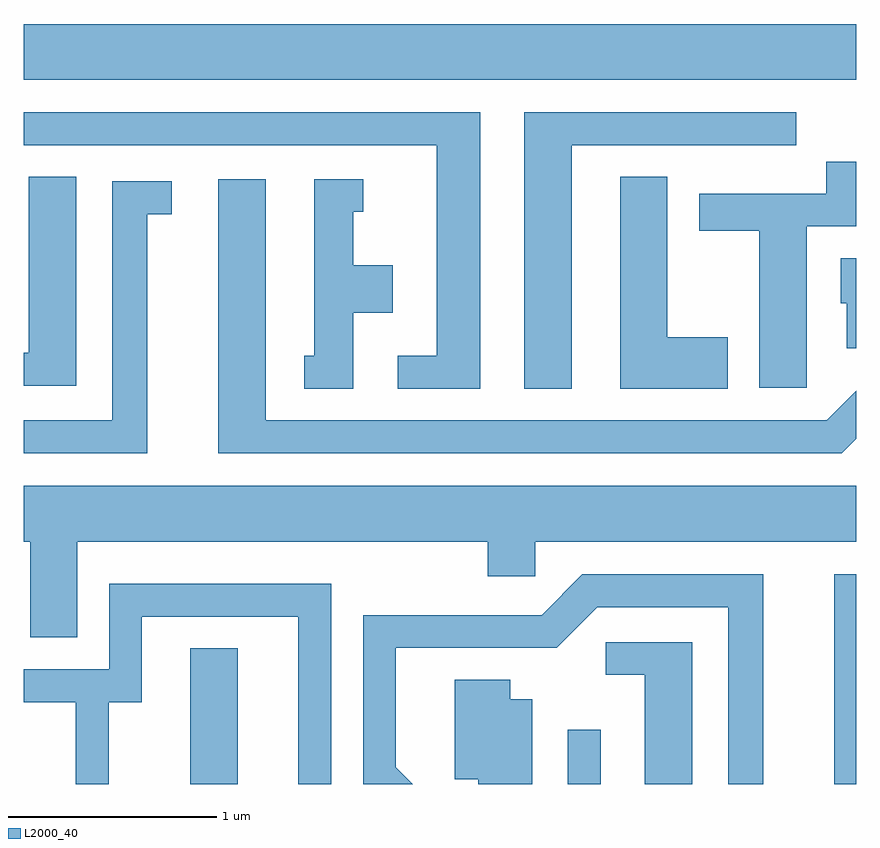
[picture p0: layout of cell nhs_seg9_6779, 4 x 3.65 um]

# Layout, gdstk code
import gdstk
lib = gdstk.Library(unit=1e-6, precision=1e-09)
def R(c, l, rs):  # rectangles x0, y0, x1, y1
    for r in rs: c.add(gdstk.rectangle(r[:2], r[2:], *l))
def P(c, l, *ps):  # polygons
    for p in ps: c.add(gdstk.Polygon(p, *l))
L2000_40 = (2000, 40)

nhs_seg9_6779 = lib.new_cell('nhs_seg9_6779')
R(nhs_seg9_6779, L2000_40, [(386.411,1988.432,386.639,1989.084), (388.226,1988.432,388.384,1988.693), (389.506,1988.432,389.611,1989.439), (385.611,1991.816,389.611,1992.084)])
P(nhs_seg9_6779, L2000_40, [(387.804,1991.659),(385.611,1991.659),(385.611,1991.501),(387.596,1991.501),(387.596,1990.489),(387.408,1990.489),(387.408,1990.331),(387.804,1990.331)],
  [(388.244,1991.501),(389.323,1991.501),(389.323,1991.659),(388.016,1991.659),(388.016,1990.331),(388.244,1990.331)],
  [(389.374,1991.111),(389.611,1991.111),(389.611,1991.423),(389.466,1991.423),(389.466,1991.269),(388.856,1991.269),(388.856,1991.091),(389.146,1991.091),(389.146,1990.336),(389.374,1990.336)],
  [(388.994,1990.579),(388.704,1990.579),(388.704,1991.349),(388.476,1991.349),(388.476,1990.331),(388.994,1990.331)],
  [(385.864,1991.349),(385.636,1991.349),(385.636,1990.504),(385.611,1990.504),(385.611,1990.346),(385.864,1990.346)],
  [(389.611,1990.09),(389.611,1990.321),(389.469,1990.179),(386.774,1990.179),(386.774,1991.339),(386.546,1991.339),(386.546,1990.021),(389.542,1990.021)],
  [(387.194,1990.696),(387.384,1990.696),(387.384,1990.924),(387.194,1990.924),(387.194,1991.181),(387.243,1991.181),(387.243,1991.339),(387.006,1991.339),(387.006,1990.489),(386.958,1990.489),(386.958,1990.331),(387.194,1990.331)],
  [(386.204,1991.171),(386.323,1991.171),(386.323,1991.329),(386.036,1991.329),(386.036,1990.179),(385.611,1990.179),(385.611,1990.021),(386.204,1990.021)],
  [(389.611,1990.959),(389.536,1990.959),(389.536,1990.741),(389.566,1990.741),(389.566,1990.526),(389.611,1990.526)],
  [(385.869,1989.596),(387.841,1989.596),(387.841,1989.431),(388.069,1989.431),(388.069,1989.596),(389.611,1989.596),(389.611,1989.864),(385.611,1989.864),(385.611,1989.596),(385.641,1989.596),(385.641,1989.136),(385.869,1989.136)],
  [(387.399,1988.512),(387.399,1989.086),(388.172,1989.086),(388.367,1989.281),(388.996,1989.281),(388.996,1988.432),(389.164,1988.432),(389.164,1989.439),(388.294,1989.439),(388.099,1989.244),(387.241,1989.244),(387.241,1988.432),(387.479,1988.432)],
  [(386.019,1988.826),(386.179,1988.826),(386.179,1989.236),(386.931,1989.236),(386.931,1988.432),(387.089,1988.432),(387.089,1989.394),(386.021,1989.394),(386.021,1988.984),(385.611,1988.984),(385.611,1988.826),(385.861,1988.826),(385.861,1988.432),(386.019,1988.432)],
  [(388.824,1989.114),(388.408,1989.114),(388.408,1988.956),(388.596,1988.956),(388.596,1988.432),(388.824,1988.432)],
  [(388.054,1988.839),(387.949,1988.839),(387.949,1988.934),(387.681,1988.934),(387.681,1988.456),(387.796,1988.456),(387.796,1988.432),(388.054,1988.432)])

lib.write_gds('nhs_seg9_6779.gds')
